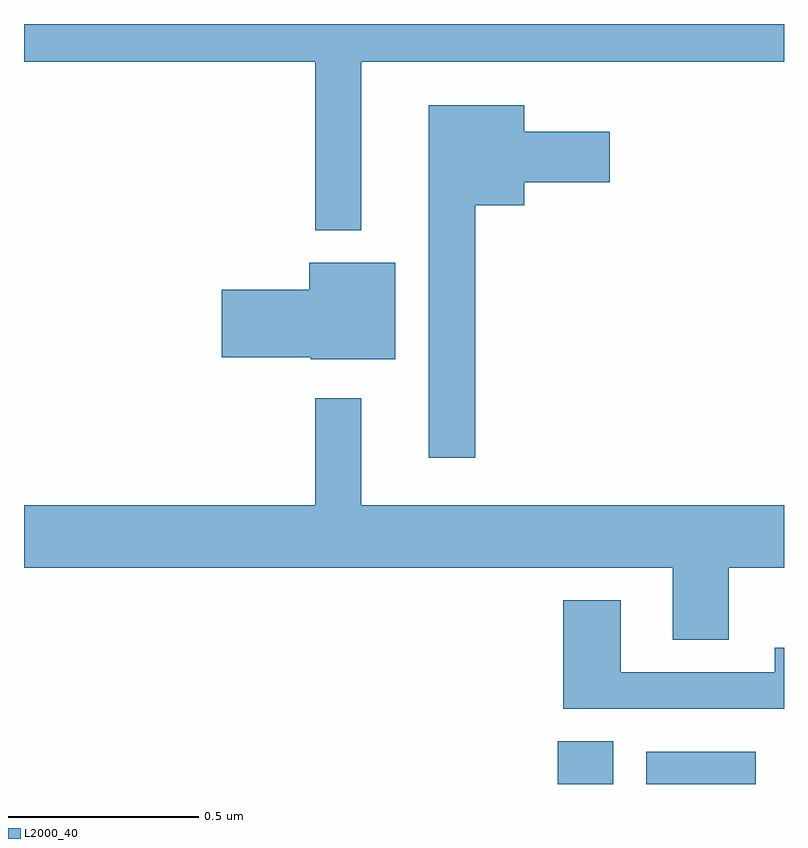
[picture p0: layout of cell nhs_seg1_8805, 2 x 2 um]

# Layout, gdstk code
import gdstk
lib = gdstk.Library(unit=1e-6, precision=1e-09)
def R(c, l, rs):  # rectangles x0, y0, x1, y1
    for r in rs: c.add(gdstk.rectangle(r[:2], r[2:], *l))
def P(c, l, *ps):  # polygons
    for p in ps: c.add(gdstk.Polygon(p, *l))
L2000_40 = (2000, 40)

nhs_seg1_8805 = lib.new_cell('nhs_seg1_8805')
R(nhs_seg1_8805, L2000_40, [(222.404,515.199,222.55,515.312), (222.638,515.199,222.925,515.284)])
P(nhs_seg1_8805, L2000_40, [(221.887,517.1),(223,517.1),(223,517.199),(221,517.199),(221,517.1),(221.766,517.1),(221.766,516.656),(221.887,516.656)],
  [(222.187,516.722),(222.316,516.722),(222.316,516.782),(222.541,516.782),(222.541,516.916),(222.316,516.916),(222.316,516.985),(222.065,516.985),(222.065,516.057),(222.187,516.057)],
  [(221.977,516.571),(221.75,516.571),(221.75,516.5),(221.52,516.5),(221.52,516.322),(221.754,516.322),(221.754,516.317),(221.977,516.317)],
  [(222.855,515.768),(223,515.768),(223,515.932),(221.887,515.932),(221.887,516.214),(221.766,516.214),(221.766,515.932),(221,515.932),(221,515.768),(222.707,515.768),(222.707,515.578),(222.855,515.578)],
  [(223,515.557),(222.976,515.557),(222.976,515.493),(222.571,515.493),(222.571,515.683),(222.419,515.683),(222.419,515.397),(223,515.397)])

lib.write_gds('nhs_seg1_8805.gds')
